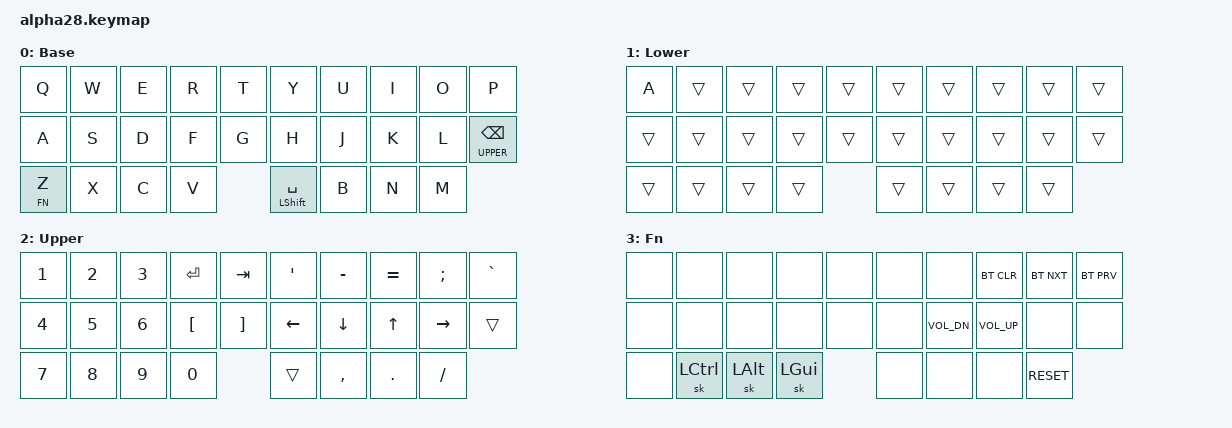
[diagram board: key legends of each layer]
#include <behaviors.dtsi>
#include <dt-bindings/zmk/keys.h>
#include <dt-bindings/zmk/bt.h>

#define BASE 0
#define LOWER 1
#define UPPER 2
#define FN 3

/ {
    keymap {
        compatible = "zmk,keymap";

        base {
            display-name = "Base";
            bindings = <
&kp Q    &kp W    &kp E   &kp R   &kp T    &kp Y   &kp U    &kp I   &kp O   &kp P
&kp A    &kp S    &kp D   &kp F   &kp G    &kp H   &kp J    &kp K   &kp L   &lt UPPER BSPC
&lt FN Z &kp X &kp C   &kp V   &mt LSHFT SPACE        &kp B   &kp N   &kp M
            >;
        };

        lower {
            display-name = "Lower";
            bindings = <
&kp A     &trans    &trans    &trans    &trans    &trans    &trans    &trans    &trans    &trans
&trans    &trans    &trans    &trans    &trans    &trans    &trans    &trans    &trans    &trans
&trans    &trans    &trans    &trans    &trans                        &trans    &trans    &trans
            >;
        };

        upper {
            display-name = "Upper";
            bindings = <
&kp N1    &kp N2    &kp N3    &kp RET   &kp TAB  &kp APOS  &kp MINUS &kp EQUAL &kp SEMI  &kp GRAVE
&kp N4    &kp N5    &kp N6    &kp LBKT  &kp RBKT &kp LEFT  &kp DOWN  &kp UP    &kp RIGHT &trans
&kp N7    &kp N8    &kp N9    &kp N0    &trans                       &kp COMMA &kp DOT   &kp SLASH
            >;
        };

        fn {
            display-name = "Fn";
            bindings = <
&none     &none     &none     &none     &none    &none     &none        &bt BT_CLR   &bt BT_NXT &bt BT_PRV
&none     &none     &none     &none     &none    &none     &kp C_VOL_DN &kp C_VOL_UP &none      &none
&none     &sk LCTRL &sk LALT  &sk LGUI  &none                           &none        &none      &kp C_RESET
            >;
        };

    };
};
